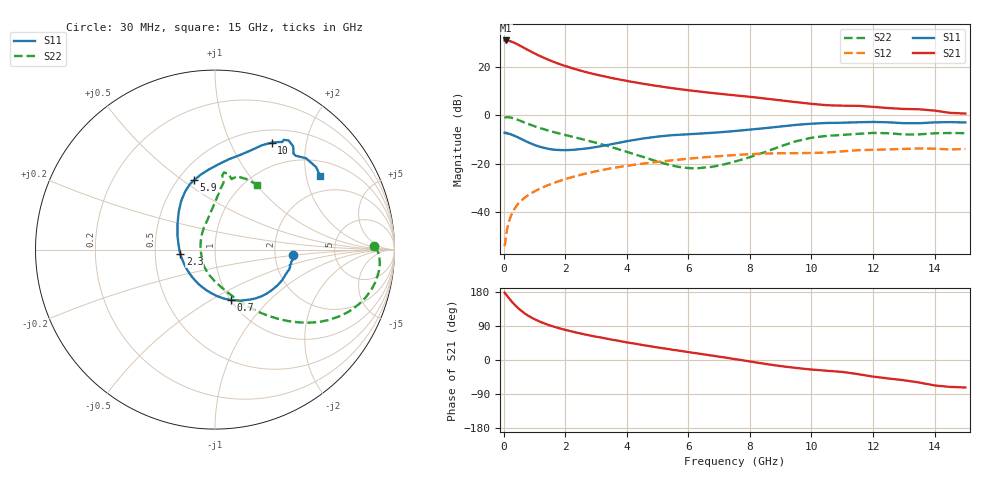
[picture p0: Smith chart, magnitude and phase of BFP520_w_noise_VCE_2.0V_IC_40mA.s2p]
! Infineon Technologies  Discrete & RF Semiconductors
! BFP520
! VCE =  2.0 V,  IC =  40 mA
! Common Emitter S-Parameters:  Oct 2015
# GHz  S  MA  R  50
!  f  S11  S21  S12  S22
! GHz  MAG  ANG  MAG  ANG  MAG  ANG  MAG  ANG
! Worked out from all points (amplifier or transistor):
!   109 points, 30 MHz to 15 GHz, reference 50 ohm
!   highest |S21| = 31.2 dB at 70 MHz (marker M1)
!   |S21| within 3 dB of that: start of sweep to 650.9 MHz
!   unconditionally stable (mu >= 1): start of sweep to 37.27 MHz; 2.122 GHz to end of sweep
!   at 450 MHz: K = 0.46, MSG = 33.3 dB, |S12| = -37.1 dB
!   at 4 GHz: K = 1.14, MAG = 15.4 dB, |S12| = -20.9 dB
!   at 15 GHz: K = 1.26, MAG = 4.3 dB, |S12| = -13.9 dB
!   lowest NFmin = 2.88 dB at 900 MHz
!   S11 on the Smith chart (normalised r, x): 30 MHz: 2.53, -0.20; 700 MHz: 1.01, -0.62; 2.3 GHz: 0.68, -0.04; 5.9 GHz: 0.60, +0.55; 10 GHz: 0.66, +1.45; 15 GHz: 1.42, +2.41
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0.03  0.4364 -4.3  36.39 177.6  0.0019 112.0  0.8882 1.2
0.07  0.4293 -9.3  36.49 173.3  0.0029 92.7  0.9136 -1.9
0.14  0.4217 -17.4  36.09 166.3  0.0052 85.0  0.9213 -7.2
0.2  0.4115 -24.4  35.34 160.2  0.007 82.2  0.912 -11.4
0.25  0.401 -29.9  34.54 155.4  0.0085 80.7  0.8981 -14.7
0.35  0.378 -40.6  32.53 146.4  0.0113 77.0  0.8598 -20.5
0.5  0.3403 -54.8  29.11 134.8  0.0152 73.7  0.7923 -27.7
0.7  0.2951 -72.3  24.82 122.0  0.0198 71.0  0.7043 -35.0
0.8  0.2761 -80.2  22.9 116.7  0.022 70.0  0.6653 -37.7
1  0.2434 -95.0  19.66 107.8  0.0262 68.5  0.5975 -42.4
1.3  0.2125 -115.7  15.94 97.2  0.0325 66.8  0.5179 -47.9
1.7  0.1926 -140.7  12.52 86.3  0.0409 64.4  0.4387 -53.8
2.3  0.1941 -172.4  9.341 73.7  0.0538 60.4  0.3518 -61.3
2.6  0.2028 174.6  8.238 68.1  0.0603 58.0  0.3149 -65.0
3.5  0.2525 145.9  6.051 53.7  0.0797 50.0  0.2196 -79.0
5.1  0.3688 115.9  4.014 31.9  0.1098 35.0  0.1057 -127.2
5.9  0.4031 106.9  3.416 22.1  0.1242 27.7  0.0814 -159.5
7.6  0.4804 86.6  2.595 1.3  0.1512 11.2  0.1138 129.3
10  0.6746 62.1  1.747 -25.2  0.1657 -10.4  0.3441 84.6
10.5  0.6988 59.1  1.634 -28.4  0.1693 -12.6  0.3761 82.7
13  0.6905 50.7  1.368 -53.4  0.2009 -34.2  0.4032 76.8
15  0.7158 35.2  1.097 -72.5  0.201 -50.6  0.4286 56.6
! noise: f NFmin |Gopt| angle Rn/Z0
0.45  2.9  0.12  -150  0.28
0.9  2.88  0.14  -145  0.32
1.9  3.01  0.21  -123  0.34
2.4  3  0.21  -121  0.33
3.5  2.96  0.21  -107  0.37
